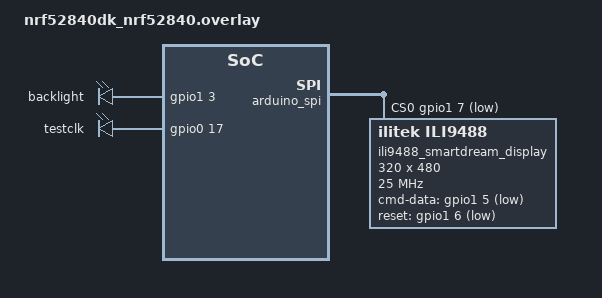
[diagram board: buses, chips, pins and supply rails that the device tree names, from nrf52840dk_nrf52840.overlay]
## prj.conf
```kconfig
CONFIG_LV_Z_MEM_POOL_NUMBER_BLOCKS=32
CONFIG_MAIN_STACK_SIZE=8092


CONFIG_DISPLAY=y
CONFIG_DISPLAY_LOG_LEVEL_ERR=y
CONFIG_DEBUG_THREAD_INFO=y
CONFIG_DEBUG_OPTIMIZATIONS=y

CONFIG_LOG=y

CONFIG_LVGL=y
CONFIG_LV_MEM_CUSTOM=y
CONFIG_LV_USE_LOG=y
CONFIG_LV_USE_LABEL=y
CONFIG_LV_USE_BTN=y
CONFIG_LV_USE_IMG=y

CONFIG_LV_FONT_MONTSERRAT_12=y
CONFIG_LV_FONT_MONTSERRAT_14=y
CONFIG_LV_FONT_MONTSERRAT_16=y
CONFIG_LV_FONT_MONTSERRAT_24=y
CONFIG_LV_FONT_MONTSERRAT_42=y

# CONFIG_LV_FONT_MONTSERRAT_18=y
# #CONFIG_LV_FONT_MONTSERRAT_20=y
# CONFIG_LV_FONT_MONTSERRAT_28=y
# CONFIG_LV_FONT_MONTSERRAT_36=n
# CONFIG_LV_FONT_MONTSERRAT_48=n
# CONFIG_LV_FONT_DEFAULT_MONTSERRAT_18=y

#
# Below are configs related to the lvgl library
#

CONFIG_LV_BUILD_EXAMPLES=n
CONFIG_LV_USE_CHECKBOX=n
CONFIG_LV_USE_DROPDOWN=n
CONFIG_LV_USE_ROLLER=n
CONFIG_LV_USE_SLIDER=n
CONFIG_LV_USE_SWITCH=n
CONFIG_LV_USE_TABLE=n
CONFIG_LV_USE_ANIMIMG=n
CONFIG_LV_USE_CALENDAR=n
CONFIG_LV_USE_CHART=n
CONFIG_LV_USE_COLORWHEEL=n
CONFIG_LV_USE_IMGBTN=n
CONFIG_LV_USE_KEYBOARD=n
CONFIG_LV_USE_LED=n
CONFIG_LV_USE_LIST=n
CONFIG_LV_USE_MENU=n
CONFIG_LV_USE_METER=n
CONFIG_LV_USE_MSGBOX=n
CONFIG_LV_USE_SPINBOX=n
CONFIG_LV_USE_SPINNER=n
CONFIG_LV_USE_TABVIEW=n
CONFIG_LV_USE_TILEVIEW=n
CONFIG_LV_USE_WIN=n
CONFIG_LV_USE_SPAN=n
CONFIG_LV_USE_THEME_BASIC=n
CONFIG_LV_USE_FLEX=n
CONFIG_LV_USE_GRID=n
CONFIG_LV_USE_SNAPSHOT=n
CONFIG_LV_Z_DOUBLE_VDB=y
CONFIG_LV_COLOR_DEPTH_32=y
```

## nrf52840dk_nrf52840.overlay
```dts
// To get started, press Ctrl+Space to bring up the completion menu and view the available nodes.

// You can also use the buttons in the sidebar to perform actions on nodes.
// Actions currently available include:

// * Enabling / disabling the node
// * Adding the bus to a bus
// * Removing the node
// * Connecting ADC channels

// For more help, browse the DeviceTree documentation at https://docs.zephyrproject.org/latest/guides/dts/index.html
// You can also visit the nRF DeviceTree extension documentation at https://nrfconnect.github.io/vscode-nrf-connect/devicetree/nrfdevicetree.html
#include <zephyr/dt-bindings/display/ili9xxx.h>

/ {
    chosen {
        zephyr,display = &ili9488_smartdream_display;
    };

    aliases {
        backlight = &backlight;
    };

    lcd_module {
        compatible = "gpio-leds";
    
        backlight: back_light {
            gpios = <&gpio1 3 GPIO_ACTIVE_HIGH>;
        };

        testclk: testclk {
            gpios = <&gpio0 17 GPIO_ACTIVE_HIGH>;
        };
    };
};

&arduino_spi {
    status = "okay";
    cs-gpios = <&gpio1 7 GPIO_ACTIVE_LOW>; /* D9 */

    ili9488_smartdream_display: ili9488@0 {
            compatible = "ilitek,ili9488";
            spi-max-frequency = <25000000>;
            reg = <0>;
            cmd-data-gpios = <&gpio1 5 GPIO_ACTIVE_LOW>; /* D7 */
            reset-gpios = <&gpio1 6 GPIO_ACTIVE_LOW>; /* D10 */
            pixel-format = <ILI9XXX_PIXEL_FORMAT_RGB888>;
            width = <320>;
            height = <480>;
            rotation = <180>;
            frmctr1 = [a0 11];
            pwctrl1 = [17 15];
            pwctrl2 = [41];
            pgamctrl = [00 03 09 08 16 0a 3f 78 4c 09 0a 08 16 1a 0f];
            ngamctrl = [00 16 19 03 0f 05 32 45 46 04 0e 0d 35 37 0f];
    };
};

&pinctrl {
    // spi3_default: spi3_default {
    //     group1 {
    //         psels = <NRF_PSEL(SPIM_SCK, 0, 17)>,
    //             <NRF_PSEL(SPIM_MISO, 0, 13)>,
    //             <NRF_PSEL(SPIM_MOSI, 0, 15)>;
    //     };
    // };

    // spi3_sleep: spi3_sleep {
    //     group1 {
    //         psels = <NRF_PSEL(SPIM_SCK, 0, 17)>,
    //             <NRF_PSEL(SPIM_MISO, 0, 13)>,
    //             <NRF_PSEL(SPIM_MOSI, 0, 15)>;
    //         low-power-enable;
    //     };
    // };

    // i2c0_default: i2c0_default {
	// 	group1 {
	// 		psels = <NRF_PSEL(TWIM_SDA, 0, 6)>,
	// 			<NRF_PSEL(TWIM_SCL, 0, 8)>;
	// 	};
	// };

	// i2c0_sleep: i2c0_sleep {
	// 	group1 {
	// 		psels = <NRF_PSEL(TWIM_SDA, 0, 6)>,
	// 			<NRF_PSEL(TWIM_SCL, 0, 8)>;
	// 		low-power-enable;
	// 	};
	// };
};

&spi1 {
    status = "disabled";
};

&uart0 {
    status = "disabled";
};

&uart1 {
    status = "disabled";
};

&pwm0 {
    status = "disabled";
};

&qspi {
    status = "disabled";    
};

&led0 {
    status = "disabled";     
};

&led1 {
    status = "disabled";     
};

&led2 {
    status = "disabled";     
};

&led3 {
    status = "disabled";     
};

&button0 {
    status = "disabled";     
};

&button1 {
    status = "disabled";     
};

&button2 {
    status = "disabled";     
};

&button3 {
    status = "disabled";     
};

&i2c0 {
    status = "disabled";
};

&pwm_led0 {
    status = "disabled";
};
```

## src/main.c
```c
/*
 * Copyright (c) 2018 Jan Van Winkel <jan.van_winkel@dxplore.eu>
 *
 * SPDX-License-Identifier: Apache-2.0
 */

#include <zephyr/device.h>
#include <zephyr/devicetree.h>
#include <zephyr/drivers/display.h>
#include <zephyr/drivers/gpio.h>
#include <lvgl.h>
#include <stdio.h>
#include <string.h>
#include <zephyr/kernel.h>

#define LOG_LEVEL CONFIG_LOG_DEFAULT_LEVEL
#include <zephyr/logging/log.h>
LOG_MODULE_REGISTER(app);

static uint32_t count;

/*Technonia*/
#define LCDBL_NODE	

static struct gpio_dt_spec sd_lcd_bl = GPIO_DT_SPEC_GET(DT_ALIAS(backlight), gpios);
static struct gpio_dt_spec spi_clk = GPIO_DT_SPEC_GET(DT_ALIAS(test_spi), gpios);

#ifdef CONFIG_GPIO
static struct gpio_dt_spec button_gpio = GPIO_DT_SPEC_GET_OR(
		DT_ALIAS(sw0), gpios, {0});
static struct gpio_callback button_callback;

static void button_isr_callback(const struct device *port,
				struct gpio_callback *cb,
				uint32_t pins)
{
	ARG_UNUSED(port);
	ARG_UNUSED(cb);
	ARG_UNUSED(pins);

	count = 0;
}
#endif

/*
static void ofs_y_anim(void * img, int32_t v)
{
    lv_img_set_offset_y(img, v);
}
*/

/**
 * Image styling and offset
 */
/*
void lv_example_img_4(void)
{
    LV_IMG_DECLARE(img_skew_strip);

    static lv_style_t style;
    lv_style_init(&style);
    lv_style_set_bg_color(&style, lv_palette_main(LV_PALETTE_YELLOW));
    lv_style_set_bg_opa(&style, LV_OPA_COVER);
    lv_style_set_img_recolor_opa(&style, LV_OPA_COVER);
    lv_style_set_img_recolor(&style, lv_color_black());

    lv_obj_t * img = lv_img_create(lv_scr_act());
    lv_obj_add_style(img, &style, 0);
    lv_img_set_src(img, &img_skew_strip);
    lv_obj_set_size(img, 150, 100);
    lv_obj_center(img);

    lv_anim_t a;
    lv_anim_init(&a);
    lv_anim_set_var(&a, img);
    lv_anim_set_exec_cb(&a, ofs_y_anim);
    lv_anim_set_values(&a, 0, 100);
    lv_anim_set_time(&a, 3000);
    lv_anim_set_playback_time(&a, 500);
    lv_anim_set_repeat_count(&a, LV_ANIM_REPEAT_INFINITE);
    lv_anim_start(&a);

}
*/
void lv_example_style_6(void)
{
    static lv_style_t style;
    lv_style_init(&style);

    /*Set a background color and a radius*/
    lv_style_set_radius(&style, 5);
    lv_style_set_bg_opa(&style, LV_OPA_COVER);
    lv_style_set_bg_color(&style, lv_palette_lighten(LV_PALETTE_GREY, 3));
    lv_style_set_border_width(&style, 2);
    lv_style_set_border_color(&style, lv_palette_main(LV_PALETTE_BLUE));

    lv_style_set_img_recolor(&style, lv_palette_main(LV_PALETTE_BLUE));
    lv_style_set_img_recolor_opa(&style, LV_OPA_50);
    lv_style_set_transform_angle(&style, 300);

    /*Create an object with the new style*/
    lv_obj_t * obj = lv_img_create(lv_scr_act());
    lv_obj_add_style(obj, &style, 0);

    LV_IMG_DECLARE(img_cogwheel_argb);
    lv_img_set_src(obj, &img_cogwheel_argb);

    lv_obj_center(obj);
}

void main(void)
{
	int err;
	char count_str[11] = {0};
	const struct device *display_dev;
	lv_obj_t *hello_world_label;
	lv_obj_t *count_label;
	
	/*
	static lv_style_t style;

    lv_style_init(&style);

	style.text.font = &lv_font_montserrat_42;
	*/

	display_dev = DEVICE_DT_GET(DT_CHOSEN(zephyr_display));
	if (!device_is_ready(display_dev)) {
		LOG_ERR("Device not ready, aborting test");
		return;
	}
	display_blanking_off(display_dev);

	if(device_is_ready(sd_lcd_bl.port)) {
		// err = gpio_pin_configure_dt(&sd_lcd_bl, GPIO_OUTPUT_ACTIVE);
		err = gpio_pin_configure_dt(&sd_lcd_bl, GPIO_OUTPUT);
		if (err) {
			LOG_ERR("failed to configure lcd backlight gpio: %d", err);
			return;
		}
		// gpio_pin_set_dt(&sd_lcd_bl, 1);
		gpio_pin_set_dt(&sd_lcd_bl, 0);
	}

	if (device_is_ready(spi_clk.port)) {
		err = gpio_pin_configure_dt(&spi_clk, GPIO_OUTPUT);
		if (err) {
			LOG_ERR("failed to configure spi clk gpio: %d", err);
			return;
		}
		gpio_pin_set_dt(&spi_clk, 1);
	}

#ifdef CONFIG_GPIO
	if (device_is_ready(button_gpio.port)) {
		err = gpio_pin_configure_dt(&button_gpio, GPIO_INPUT);
		if (err) {
			LOG_ERR("failed to configure button gpio: %d", err);
			return;
		}

		gpio_init_callback(&button_callback, button_isr_callback,
				   BIT(button_gpio.pin));

		err = gpio_add_callback(button_gpio.port, &button_callback);
		if (err) {
			LOG_ERR("failed to add button callback: %d", err);
			return;
		}

		err = gpio_pin_interrupt_configure_dt(&button_gpio,
						      GPIO_INT_EDGE_TO_ACTIVE);
		if (err) {
			LOG_ERR("failed to enable button callback: %d", err);
			return;
		}
	}
#endif

	if (IS_ENABLED(CONFIG_LV_Z_POINTER_KSCAN)) {
		lv_obj_t *hello_world_button;

		hello_world_button = lv_btn_create(lv_scr_act());
		lv_obj_align(hello_world_button, LV_ALIGN_CENTER, 0, 0);
		hello_world_label = lv_label_create(hello_world_button);
	} else {
		hello_world_label = lv_label_create(lv_scr_act());
	}

	lv_obj_set_style_bg_color(lv_scr_act(), lv_color_hex(0x0041df), LV_PART_MAIN);
	lv_obj_set_style_text_color(lv_scr_act(), lv_color_hex(0xffffff), LV_PART_MAIN);
	lv_obj_set_style_text_font(hello_world_label, &lv_font_montserrat_42, LV_PART_MAIN | LV_STATE_DEFAULT);

	lv_label_set_text(hello_world_label, "Hello world!");
	lv_obj_align(hello_world_label, LV_ALIGN_CENTER, 0, 0);

	count_label = lv_label_create(lv_scr_act());
	/*
	lv_obj_align(count_label, LV_ALIGN_BOTTOM_MID, 0, 0);
	*/
	lv_obj_set_pos(count_label, 30 ,100);
	lv_obj_set_style_text_font(count_label, &lv_font_montserrat_24, LV_PART_MAIN | LV_STATE_DEFAULT);

	int res = gpio_pin_set_dt(&sd_lcd_bl, 1);
	printk("gpio_pin_set_dt: %d\n", res);

	lv_task_handler();

	int value = 0;

	while (1) {
		if ((count % 10) == 0U) {
			sprintf(count_str, "%d", count/10U);
			lv_label_set_text(count_label, count_str);
			gpio_pin_set_dt(&sd_lcd_bl, value);
			value = !value;
		}
		lv_task_handler();
		++count;
		k_sleep(K_MSEC(100));
	}


	// lv_obj_set_style_bg_color(lv_scr_act(), lv_color_hex(0x0041df), LV_PART_MAIN);
	// lv_obj_set_style_text_color(lv_scr_act(), lv_color_hex(0xffffff), LV_PART_MAIN);
	// lv_obj_set_style_text_font(hello_world_label, &lv_font_montserrat_42, LV_PART_MAIN | LV_STATE_DEFAULT);

	// lv_label_set_text(hello_world_label, "Hello world!");
	// lv_obj_align(hello_world_label, LV_ALIGN_CENTER, 0, 0);

	// count_label = lv_label_create(lv_scr_act());

	// // lv_obj_align(count_label, LV_ALIGN_BOTTOM_MID, 0, 0);

	// lv_obj_set_pos(count_label, 30 ,100);
	// lv_obj_set_style_text_font(count_label, &lv_font_montserrat_24, LV_PART_MAIN | LV_STATE_DEFAULT);

	// lv_task_handler();
	// display_blanking_off(display_dev);

	// gpio_pin_set_dt(&sd_lcd_bl, 1);

	// while (1) {
	// 	if ((count % 100) == 0U) {
	// 		sprintf(count_str, "%d", count/100U);
	// 		printk("count: %s\n", count_str);
	// 		lv_label_set_text(count_label, count_str);
	// 	}
	// 	lv_task_handler();
	// 	++count;
	// 	k_sleep(K_MSEC(10));
	// }
}
```
